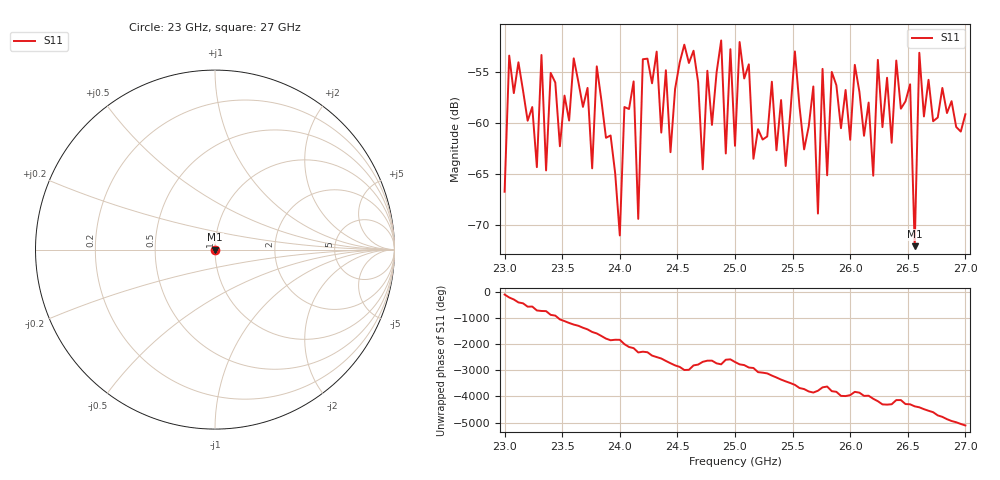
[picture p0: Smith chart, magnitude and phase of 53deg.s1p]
#  HZ  S  RI  R  50.00
! Rohde & Schwarz ZVA40 4Ports - Version 3.90 - 1145.1110k42 SN: 100403
! Date: 2023-09-26 11:07:59
! Measurement: S12
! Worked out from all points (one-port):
!   101 points, 23 GHz to 27 GHz, reference 50 ohm
!   lowest |S11| = -72.1 dB at 26.56 GHz (marker M1), VSWR 1.00, Z = 50 - j0.0216 ohm
!   |S11| at or under -10 dB: start of sweep to end of sweep
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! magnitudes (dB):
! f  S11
! 23 GHz  -66.7
! 23.04 GHz  -53.4
! 23.28 GHz  -64.3
! 23.32 GHz  -53.3
! 23.36 GHz  -64.6
! 23.52 GHz  -57.3
! 23.76 GHz  -64.4
! 23.8 GHz  -54.4
! 24 GHz  -71.0
! 24.04 GHz  -58.4
! 24.12 GHz  -55.9
! 24.16 GHz  -69.4
! 24.2 GHz  -53.7
! 24.52 GHz  -54.0
! 25 GHz  -62.2
! 25.04 GHz  -52.0
! 25.44 GHz  -64.2
! 25.52 GHz  -53.0
! 25.68 GHz  -56.4
! 25.72 GHz  -68.9
! 25.76 GHz  -54.7
! 25.8 GHz  -65.1
! 25.84 GHz  -55.0
! 26 GHz  -61.6
! 26.52 GHz  -56.2
! 26.56 GHz  -72.1
! 26.6 GHz  -53.1
! 27 GHz  -59.1
